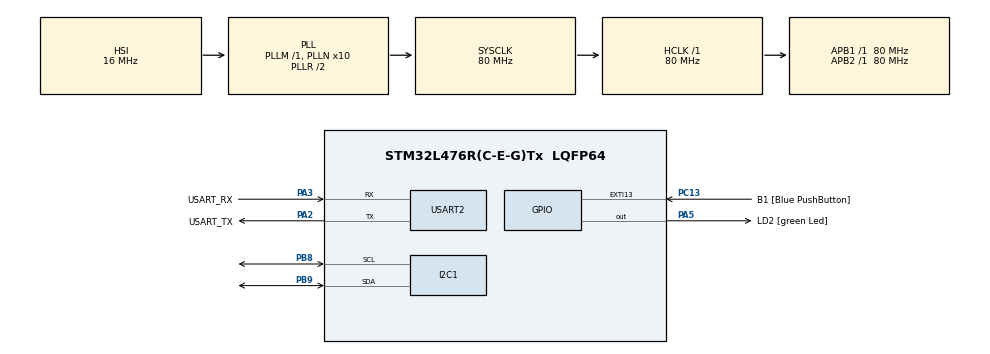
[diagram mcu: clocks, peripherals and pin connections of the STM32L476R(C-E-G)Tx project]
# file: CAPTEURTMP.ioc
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I2C1.Timing=0x10909CEC
Mcu.Family=STM32L4
Mcu.Name=STM32L476R(C-E-G)Tx
Mcu.Package=LQFP64
NVIC.PriorityGroup=NVIC_PRIORITYGROUP_4
PA13\ (JTMS-SWDIO).GPIO_Label=TMS
PA13\ (JTMS-SWDIO).Mode=Serial_Wire
PA13\ (JTMS-SWDIO).Signal=SYS_JTMS-SWDIO
PA14\ (JTCK-SWCLK).GPIO_Label=TCK
PA14\ (JTCK-SWCLK).Mode=Serial_Wire
PA14\ (JTCK-SWCLK).Signal=SYS_JTCK-SWCLK
PA2.GPIO_Label=USART_TX
PA2.GPIO_Mode=GPIO_MODE_AF_PP
PA2.GPIO_PuPd=GPIO_NOPULL
PA2.GPIO_Speed=GPIO_SPEED_FREQ_VERY_HIGH
PA2.Mode=Asynchronous
PA2.Signal=USART2_TX
PA3.GPIO_Label=USART_RX
PA3.GPIO_Mode=GPIO_MODE_AF_PP
PA3.GPIO_PuPd=GPIO_NOPULL
PA3.GPIO_Speed=GPIO_SPEED_FREQ_VERY_HIGH
PA3.Mode=Asynchronous
PA3.Signal=USART2_RX
PA5.GPIO_Label=LD2 [green Led]
PA5.GPIO_ModeDefaultOutputPP=GPIO_MODE_OUTPUT_PP
PA5.GPIO_PuPd=GPIO_NOPULL
PA5.GPIO_Speed=GPIO_SPEED_FREQ_LOW
PA5.Signal=GPIO_Output
PB3\ (JTDO-TRACESWO).GPIO_Label=SWO
PB3\ (JTDO-TRACESWO).Signal=SYS_JTDO-SWO
PB8.Mode=I2C
PB8.Signal=I2C1_SCL
PB9.Mode=I2C
PB9.Signal=I2C1_SDA
PC13.GPIO_Label=B1 [Blue PushButton]
PC13.GPIO_ModeDefaultEXTI=GPIO_MODE_IT_FALLING
PC13.GPIO_PuPd=GPIO_NOPULL
PC13.Signal=GPXTI13
PC14-OSC32_IN\ (PC14).Mode=LSE-External-Oscillator
PC14-OSC32_IN\ (PC14).Signal=RCC_OSC32_IN
PC15-OSC32_OUT\ (PC15).Mode=LSE-External-Oscillator
PC15-OSC32_OUT\ (PC15).Signal=RCC_OSC32_OUT
PH0-OSC_IN\ (PH0).Signal=RCC_OSC_IN
PH1-OSC_OUT\ (PH1).Signal=RCC_OSC_OUT
ProjectManager.HeapSize=0x200
ProjectManager.StackSize=0x400
ProjectManager.TargetToolchain=STM32CubeIDE
RCC.ADCFreq_Value=64000000
RCC.AHBFreq_Value=80000000
RCC.APB1Freq_Value=80000000
RCC.APB1TimFreq_Value=80000000
RCC.APB2Freq_Value=80000000
RCC.APB2TimFreq_Value=80000000
RCC.CortexFreq_Value=80000000
RCC.HCLKFreq_Value=80000000
RCC.HSE_VALUE=8000000
RCC.HSI_VALUE=16000000
RCC.MSI_VALUE=4000000
RCC.PLLN=10
RCC.PLLSourceVirtual=RCC_PLLSOURCE_HSI
RCC.PREFETCH_ENABLE=1
RCC.SYSCLKFreq_VALUE=80000000
RCC.SYSCLKSource=RCC_SYSCLKSOURCE_PLLCLK
RCC.USBFreq_Value=64000000
RCC.VCOOutputFreq_Value=160000000
USART2.VirtualMode-Asynchronous=VM_ASYNC
board=NUCLEO-L476RG

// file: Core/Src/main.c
/* USER CODE BEGIN Header */
/**
  ******************************************************************************
  * @file           : main.c
  * @brief          : Main program body
  ******************************************************************************
  * @attention
  *
  * Copyright (c) 2023 STMicroelectronics.
  * All rights reserved.
  *
  * This software is licensed under terms that can be found in the LICENSE file
  * in the root directory of this software component.
  * If no LICENSE file comes with this software, it is provided AS-IS.
  *
  ******************************************************************************
  */
/* USER CODE END Header */

#include "main.h"
#include "i2c.h"
#include "usart.h"
#include "gpio.h"
#include <stdio.h>
#include <stdlib.h>
#include <string.h>

/* USER CODE BEGIN Includes */

#include "lib_lcd.h"
#define _OPEN_SYS_ITOA_EXT

/* USER CODE END Includes */

/* USER CODE BEGIN PV */

static const uint8_t CAPTEUR_ADRS = 0x44 << 1;
static const uint8_t CAPTEUR_CMD_MSB = 0x24;
static const uint8_t CAPTEUR_CMD_LSB = 0x16;
static rgb_lcd lcdData;
/* USER CODE END PV */

void SystemClock_Config(void);

int main(void)
{
  /* USER CODE BEGIN 1 */

	HAL_StatusTypeDef ret;
		uint8_t buf[64];
		volatile uint16_t valA;
		volatile float temperature;
		float umid;
		float Dec_part;
		float Ent_part;

  /* USER CODE END 1 */

  /* MCU Configuration--------------------------------------------
   * ------------*/

  /* Reset of all peripherals, Initializes the Flash interface and the Systick. */

  /* USER CODE BEGIN Init */
		HAL_Init();
  /* USER CODE END Init */

  /* Configure the system clock */
  SystemClock_Config();

  /* Initialize all configured peripherals */
  MX_GPIO_Init();
  MX_USART2_UART_Init();
  MX_I2C1_Init();
  /* USER CODE BEGIN 2 */

    lcd_init(&hi2c1,&lcdData);
    lcd_position(&hi2c1,0,0);

  /* USER CODE END 2 */

  /* Infinite loop */
  while (1)
  {
	  	  buf[0] = CAPTEUR_CMD_MSB;
	  	  		buf[1] = CAPTEUR_CMD_LSB;
	  	  		ret = HAL_I2C_Master_Transmit( &hi2c1, CAPTEUR_ADRS, buf, 2, HAL_MAX_DELAY);
	  	  		if ( ret != HAL_OK)
	  	  		{
	  	  			strcpy((char*)buf, "err_T!!\r\n");
	  	  		}
	  	  			else
	  	  		{

	  	  		ret = HAL_I2C_Master_Receive( &hi2c1, CAPTEUR_ADRS, buf, 6, HAL_MAX_DELAY);
	  	  					if ( ret != HAL_OK)
	  	  				{
	  	  					strcpy((char*)buf, "err_R!!\r\n");
	  	  				}
	  	  		else
	  	  		{

	  	  			valA  =   buf[1] | buf[0] << 8;

	  	  			temperature =  (175 * ( (float)valA / 65535))-45;

	  	  			Ent_part = (int) temperature;
	  	  			Dec_part = temperature;
	  	  			Dec_part *= 100;
	  	  			Dec_part = Dec_part - (Ent_part * 100);
	  	  			valA = buf[4] | buf[3] << 8;

	  	  			umid =  ( 315 *( (float)valA / 65535))-49;
	  	  		sprintf((char*)buf,"%u.%u C ; %u %", (unsigned int) Ent_part,(unsigned int) Dec_part,(unsigned int) umid  );
	  	  			  lcd_position(&hi2c1,0,0);
	  	  			  lcd_print(&hi2c1,"Temperature/hum:");
	  	  				                  //lcd_position(&hi2c1,7,0);
	  	  					             //lcd_print(&hi2c1,]);
	  	  					            //lcd_position(&hi2c1,7,1);
	  	  					           //lcd_print(&hi2c1,"C*  :  ");
	  	  			 lcd_position(&hi2c1,2,1);
	  	  			 lcd_print(&hi2c1,(char*)buf);

	  	  		}
	  	  		}
	  	  		HAL_UART_Transmit(&huart2, buf, strlen((char*)buf), HAL_MAX_DELAY);
	  	  		HAL_Delay(1000);

	    }
    /* USER CODE END WHILE */

  }

void SystemClock_Config(void)
{
  RCC_OscInitTypeDef RCC_OscInitStruct = {0};
  RCC_ClkInitTypeDef RCC_ClkInitStruct = {0};
  RCC_PeriphCLKInitTypeDef PeriphClkInit = {0};

  /** Initializes the CPU, AHB and APB busses clocks
  */
  RCC_OscInitStruct.OscillatorType = RCC_OSCILLATORTYPE_HSI;
  RCC_OscInitStruct.HSIState = RCC_HSI_ON;
  RCC_OscInitStruct.HSICalibrationValue = RCC_HSICALIBRATION_DEFAULT;
  RCC_OscInitStruct.PLL.PLLState = RCC_PLL_ON;
  RCC_OscInitStruct.PLL.PLLSource = RCC_PLLSOURCE_HSI;
  RCC_OscInitStruct.PLL.PLLM = 1;
  RCC_OscInitStruct.PLL.PLLN = 10;
  RCC_OscInitStruct.PLL.PLLP = RCC_PLLP_DIV7;
  RCC_OscInitStruct.PLL.PLLQ = RCC_PLLQ_DIV2;
  RCC_OscInitStruct.PLL.PLLR = RCC_PLLR_DIV2;
  if (HAL_RCC_OscConfig(&RCC_OscInitStruct) != HAL_OK)
  {
    Error_Handler();
  }
  /** Initializes the CPU, AHB and APB busses clocks
  */
  RCC_ClkInitStruct.ClockType = RCC_CLOCKTYPE_HCLK|RCC_CLOCKTYPE_SYSCLK
                              |RCC_CLOCKTYPE_PCLK1|RCC_CLOCKTYPE_PCLK2;
  RCC_ClkInitStruct.SYSCLKSource = RCC_SYSCLKSOURCE_PLLCLK;
  RCC_ClkInitStruct.AHBCLKDivider = RCC_SYSCLK_DIV1;
  RCC_ClkInitStruct.APB1CLKDivider = RCC_HCLK_DIV1;
  RCC_ClkInitStruct.APB2CLKDivider = RCC_HCLK_DIV1;

  if (HAL_RCC_ClockConfig(&RCC_ClkInitStruct, FLASH_LATENCY_4) != HAL_OK)
  {
    Error_Handler();
  }
  PeriphClkInit.PeriphClockSelection = RCC_PERIPHCLK_USART2|RCC_PERIPHCLK_I2C1;
  PeriphClkInit.Usart2ClockSelection = RCC_USART2CLKSOURCE_PCLK1;
  PeriphClkInit.I2c1ClockSelection = RCC_I2C1CLKSOURCE_PCLK1;
  if (HAL_RCCEx_PeriphCLKConfig(&PeriphClkInit) != HAL_OK)
  {
    Error_Handler();
  }
  /** Configure the main internal regulator output voltage
  */
  if (HAL_PWREx_ControlVoltageScaling(PWR_REGULATOR_VOLTAGE_SCALE1) != HAL_OK)
  {
    Error_Handler();
  }
}

void Error_Handler(void)
{
  __disable_irq();
  while (1)
  {
  }
}

/************************ (C) COPYRIGHT STMicroelectronics *****END OF FILE****/
